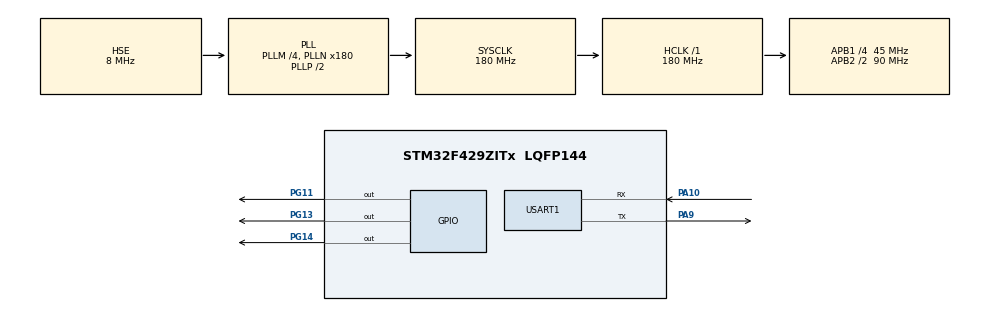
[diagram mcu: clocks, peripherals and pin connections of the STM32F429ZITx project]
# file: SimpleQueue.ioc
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FREERTOS.Tasks01=defaultTask,0,128,StartDefaultTask,Default,NULL,Dynamic,NULL,NULL
Mcu.Family=STM32F4
Mcu.Name=STM32F429ZITx
Mcu.Package=LQFP144
NVIC.PriorityGroup=NVIC_PRIORITYGROUP_4
NVIC.TIM1_UP_TIM10_IRQn=true\:15\:0\:false\:false\:true\:false\:false\:true\:true
NVIC.TimeBase=TIM1_UP_TIM10_IRQn
NVIC.TimeBaseIP=TIM1
NVIC.USART1_IRQn=true\:5\:0\:false\:false\:true\:true\:true\:true\:true
PA10.Mode=Asynchronous
PA10.Signal=USART1_RX
PA9.Mode=Asynchronous
PA9.Signal=USART1_TX
PG11.Signal=GPIO_Output
PG13.Signal=GPIO_Output
PG14.Signal=GPIO_Output
PH0/OSC_IN.Mode=HSE-External-Oscillator
PH0/OSC_IN.Signal=RCC_OSC_IN
PH1/OSC_OUT.Mode=HSE-External-Oscillator
PH1/OSC_OUT.Signal=RCC_OSC_OUT
ProjectManager.HeapSize=0x200
ProjectManager.StackSize=0x400
ProjectManager.TargetToolchain=STM32CubeIDE
RCC.48MHZClocksFreq_Value=51428571.428571425
RCC.AHBFreq_Value=180000000
RCC.APB1CLKDivider=RCC_HCLK_DIV4
RCC.APB1Freq_Value=45000000
RCC.APB1TimFreq_Value=90000000
RCC.APB2CLKDivider=RCC_HCLK_DIV2
RCC.APB2Freq_Value=90000000
RCC.APB2TimFreq_Value=180000000
RCC.CortexFreq_Value=180000000
RCC.HCLKFreq_Value=180000000
RCC.HSE_VALUE=8000000
RCC.HSI_VALUE=16000000
RCC.LSE_VALUE=32768
RCC.PLLM=4
RCC.PLLN=180
RCC.PLLQ=7
RCC.PLLSourceVirtual=RCC_PLLSOURCE_HSE
RCC.SYSCLKFreq_VALUE=180000000
RCC.SYSCLKSource=RCC_SYSCLKSOURCE_PLLCLK
RCC.VCOOutputFreq_Value=360000000
USART1.VirtualMode=VM_ASYNC
VP_FREERTOS_VS_CMSIS_V1.Mode=CMSIS_V1
VP_SYS_VS_tim1.Mode=TIM1
board=STM32F429I-DISC1

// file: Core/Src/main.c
/* USER CODE BEGIN Header */
/**
  ******************************************************************************
  * @file           : main.c
  * @brief          : Main program body
  ******************************************************************************
  * @attention
  *
  * Copyright (c) 2025 STMicroelectronics.
  * All rights reserved.
  *
  * This software is licensed under terms that can be found in the LICENSE file
  * in the root directory of this software component.
  * If no LICENSE file comes with this software, it is provided AS-IS.
  *
  ******************************************************************************
  */
/* USER CODE END Header */
#include "main.h"
#include "FreeRTOS.h"
#include "task.h"
#include "timers.h"
#include "queue.h"
#include "semphr.h"
#include "event_groups.h"

#include "string.h"
#include "stdio.h"

UART_HandleTypeDef huart1;

void SystemClock_Config(void);
static void MX_GPIO_Init(void);
static void MX_USART1_UART_Init(void);

/* USER CODE BEGIN 0 */

uint8_t rx_data = 0;

typedef struct {
    char* pStr;
    int value;
}QMsg;

/* ******************* TASK HANDLERS ******************* */
xTaskHandle Task01_Handle;
xTaskHandle Task02_Handle;
xTaskHandle Task03_Handle;

/* ******************* QUEUE HANDLER ******************* */
xQueueHandle Queue_Handle;

/* ******************* TASK FUNCTIONS ******************* */
void Task01_Producer(void* argument)
{
	QMsg t1Msg;

	uint32_t TickDelay = pdMS_TO_TICKS(4000); // convert ms to ticks
	while(1){

		char* str = (char*) pvPortMalloc(100 * sizeof(char)); // Allocate memory from the heap

		t1Msg.pStr = "Message from T1";
		t1Msg.value = 101;

		if(xQueueSend(Queue_Handle, &t1Msg, portMAX_DELAY) == pdPASS){

			HAL_GPIO_TogglePin(GPIOG, GPIO_PIN_13);

			sprintf(str, "T1 Successfully sent message to the queue value:%d  Msg:%s\n", t1Msg.value, t1Msg.pStr);
			HAL_UART_Transmit(&huart1, (uint8_t *)str, strlen(str), HAL_MAX_DELAY);
		}

		vPortFree(str); // Free the allocated memory

		vTaskDelay(TickDelay);
	}
}

void Task02_Producer(void* argument)
{
	QMsg t2Msg;

	uint32_t TickDelay = pdMS_TO_TICKS(2000); // convert ms to ticks
	while(1){

		char* str = (char*) pvPortMalloc(100 * sizeof(char)); // Allocate memory from the heap

		t2Msg.pStr = "Message from T2";
		t2Msg.value = 202;

		if(xQueueSend(Queue_Handle, &t2Msg, portMAX_DELAY) == pdPASS){

			HAL_GPIO_TogglePin(GPIOG, GPIO_PIN_14);

			sprintf(str, "T2 Successfully sent message to the queue value:%d  Msg:%s\n", t2Msg.value, t2Msg.pStr);
			HAL_UART_Transmit(&huart1, (uint8_t *)str, strlen(str), HAL_MAX_DELAY);

		}

		vPortFree(str); // Free the allocated memory

		vTaskDelay(TickDelay);
	}
}

void Task03_Consumer(void* argument)
{
	QMsg received; // Allocate memory for the message
	uint32_t TickDelay = pdMS_TO_TICKS(5000); // convert ms to ticks
	while(1){

		char* str = (char*) pvPortMalloc(200 * sizeof(char)); // Allocate memory from the heap

		if(xQueueReceive(Queue_Handle, &received, portMAX_DELAY) != pdPASS) // Wait indefinitely until something arrives
		{
			//HAL_UART_Transmit(&huart1, (uint8_t*) "Error in receiving from Queue\n", 31, HAL_MAX_DELAY);
		}else {

			HAL_GPIO_TogglePin(GPIOG, GPIO_PIN_11);

			sprintf(str, "Successfully received QMsg from the queue: value:%d  Msg:%s\n\n", received.value, received.pStr);
			HAL_UART_Transmit(&huart1, (uint8_t *)str, strlen(str), HAL_MAX_DELAY);
		}

		vPortFree(str); // Free the allocated memory

		vTaskDelay(TickDelay);
	}
}

void HAL_UART_RxCpltCallback(UART_HandleTypeDef* huart)
{
	QMsg ISRMsg;

	if(rx_data == 'r')
	{
		BaseType_t xHigherPriorityTaskWoken = pdFALSE;

		ISRMsg.pStr = "Message from ISR";
		ISRMsg.value = 999;

		if (xQueueSendToFrontFromISR(Queue_Handle, &ISRMsg, &xHigherPriorityTaskWoken) == pdPASS) // if queue is full, it will block.
		{
			HAL_UART_Transmit(huart, (uint8_t*) "\nSent from ISR\n\n", 17, HAL_MAX_DELAY);
		}else {
			HAL_UART_Transmit(huart, (uint8_t*) "\nCould not send from ISR Queue Full\n\n", 38, HAL_MAX_DELAY); // queue full
		}

		portEND_SWITCHING_ISR(xHigherPriorityTaskWoken);
	}

    // Restart UART Reception in Interrupt mode
	HAL_UART_Receive_IT(huart, &rx_data, 1);
}

/* USER CODE END 0 */

int main(void)
{

  /* MCU Configuration--------------------------------------------------------*/

  /* Reset of all peripherals, Initializes the Flash interface and the Systick. */
  HAL_Init();

  /* Configure the system clock */
  SystemClock_Config();

  /* Initialize all configured peripherals */
  MX_GPIO_Init();
  MX_USART1_UART_Init();

  /* ********************* Create integer QUEUE ********************* */
  Queue_Handle = xQueueCreate(5, sizeof(QMsg));
  if (Queue_Handle == NULL) {
	// Queue was not created and must not be used.
	HAL_UART_Transmit(&huart1, (uint8_t *)"Queue was not created and must not be used.\n", 43, HAL_MAX_DELAY);
  }else{
	HAL_UART_Transmit(&huart1, (uint8_t*) "Queue created successfully.\n", 30, HAL_MAX_DELAY);
  }

  /* ********************* Create Tasks ********************* */
  xTaskCreate(Task01_Producer, "T1", 256, NULL, 3, &Task01_Handle);
  xTaskCreate(Task02_Producer, "T2", 256, NULL, 2, &Task02_Handle);
  xTaskCreate(Task03_Consumer, "T3", 256, NULL, 1, &Task03_Handle);

  /* Start UART Reception in Interrupt mode */
  HAL_UART_Receive_IT(&huart1, &rx_data, 1);

  vTaskStartScheduler(); // This function will never return unless RTOS scheduler stops

  /* We should never get here as control is now taken by the scheduler */

  /* Infinite loop */
  while (1)
  {

  }
}

void SystemClock_Config(void)
{
  RCC_OscInitTypeDef RCC_OscInitStruct = {0};
  RCC_ClkInitTypeDef RCC_ClkInitStruct = {0};

  /** Configure the main internal regulator output voltage
  */
  __HAL_RCC_PWR_CLK_ENABLE();
  __HAL_PWR_VOLTAGESCALING_CONFIG(PWR_REGULATOR_VOLTAGE_SCALE1);

  /** Initializes the RCC Oscillators according to the specified parameters
  * in the RCC_OscInitTypeDef structure.
  */
  RCC_OscInitStruct.OscillatorType = RCC_OSCILLATORTYPE_HSE;
  RCC_OscInitStruct.HSEState = RCC_HSE_ON;
  RCC_OscInitStruct.PLL.PLLState = RCC_PLL_ON;
  RCC_OscInitStruct.PLL.PLLSource = RCC_PLLSOURCE_HSE;
  RCC_OscInitStruct.PLL.PLLM = 4;
  RCC_OscInitStruct.PLL.PLLN = 180;
  RCC_OscInitStruct.PLL.PLLP = RCC_PLLP_DIV2;
  RCC_OscInitStruct.PLL.PLLQ = 7;
  if (HAL_RCC_OscConfig(&RCC_OscInitStruct) != HAL_OK)
  {
    Error_Handler();
  }

  /** Activate the Over-Drive mode
  */
  if (HAL_PWREx_EnableOverDrive() != HAL_OK)
  {
    Error_Handler();
  }

  /** Initializes the CPU, AHB and APB buses clocks
  */
  RCC_ClkInitStruct.ClockType = RCC_CLOCKTYPE_HCLK|RCC_CLOCKTYPE_SYSCLK
                              |RCC_CLOCKTYPE_PCLK1|RCC_CLOCKTYPE_PCLK2;
  RCC_ClkInitStruct.SYSCLKSource = RCC_SYSCLKSOURCE_PLLCLK;
  RCC_ClkInitStruct.AHBCLKDivider = RCC_SYSCLK_DIV1;
  RCC_ClkInitStruct.APB1CLKDivider = RCC_HCLK_DIV4;
  RCC_ClkInitStruct.APB2CLKDivider = RCC_HCLK_DIV2;

  if (HAL_RCC_ClockConfig(&RCC_ClkInitStruct, FLASH_LATENCY_5) != HAL_OK)
  {
    Error_Handler();
  }
}

static void MX_USART1_UART_Init(void)
{

  huart1.Instance = USART1;
  huart1.Init.BaudRate = 115200;
  huart1.Init.WordLength = UART_WORDLENGTH_8B;
  huart1.Init.StopBits = UART_STOPBITS_1;
  huart1.Init.Parity = UART_PARITY_NONE;
  huart1.Init.Mode = UART_MODE_TX_RX;
  huart1.Init.HwFlowCtl = UART_HWCONTROL_NONE;
  huart1.Init.OverSampling = UART_OVERSAMPLING_16;
  if (HAL_UART_Init(&huart1) != HAL_OK)
  {
    Error_Handler();
  }

}

static void MX_GPIO_Init(void)
{
  GPIO_InitTypeDef GPIO_InitStruct = {0};

  /* GPIO Ports Clock Enable */
  __HAL_RCC_GPIOH_CLK_ENABLE();
  __HAL_RCC_GPIOA_CLK_ENABLE();
  __HAL_RCC_GPIOG_CLK_ENABLE();

  /*Configure GPIO pin Output Level */
  HAL_GPIO_WritePin(GPIOG, GPIO_PIN_11|GPIO_PIN_13|GPIO_PIN_14, GPIO_PIN_RESET);

  /*Configure GPIO pins : PG11 PG13 PG14 */
  GPIO_InitStruct.Pin = GPIO_PIN_11|GPIO_PIN_13|GPIO_PIN_14;
  GPIO_InitStruct.Mode = GPIO_MODE_OUTPUT_PP;
  GPIO_InitStruct.Pull = GPIO_NOPULL;
  GPIO_InitStruct.Speed = GPIO_SPEED_FREQ_LOW;
  HAL_GPIO_Init(GPIOG, &GPIO_InitStruct);

}

void HAL_TIM_PeriodElapsedCallback(TIM_HandleTypeDef *htim)
{
  if (htim->Instance == TIM6)
  {
    HAL_IncTick();
  }
}

void Error_Handler(void)
{
  __disable_irq();
  while (1)
  {
  }
}
